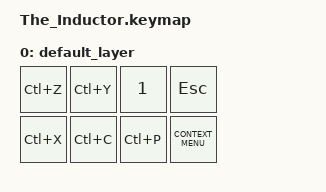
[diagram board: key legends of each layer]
/*
 * Copyright (c) 2020 The ZMK Contributors
 *
 * SPDX-License-Identifier: MIT
 */

#include <behaviors.dtsi>
#include <dt-bindings/zmk/keys.h>
#include <dt-bindings/zmk/bt.h>
#include <dt-bindings/zmk/outputs.h>

#define BT_L 1

// Using layer taps on thumbs, having quick tap as well helps w/ repeating space/backspace
&lt { quick_tap_ms = <200>; };

/ {
    behaviors {
        hm: homerow_mods {
            compatible = "zmk,behavior-hold-tap";
            label = "homerow mods";
            #binding-cells = <2>;
            tapping_term_ms = <200>;
            flavor = "tap-preferred";
            bindings = <&kp>, <&kp>;
        };
    };

    keymap {
        compatible = "zmk,keymap";

        default_layer {
            bindings = <
                &kp LC(Z)    &kp LC(Y)      &kp NUMBER_1     &kp ESC
                &kp LC(X)    &kp LC(C)      &kp LC(P)        &kp K_CONTEXT_MENU
            >;
        };
    };
};
